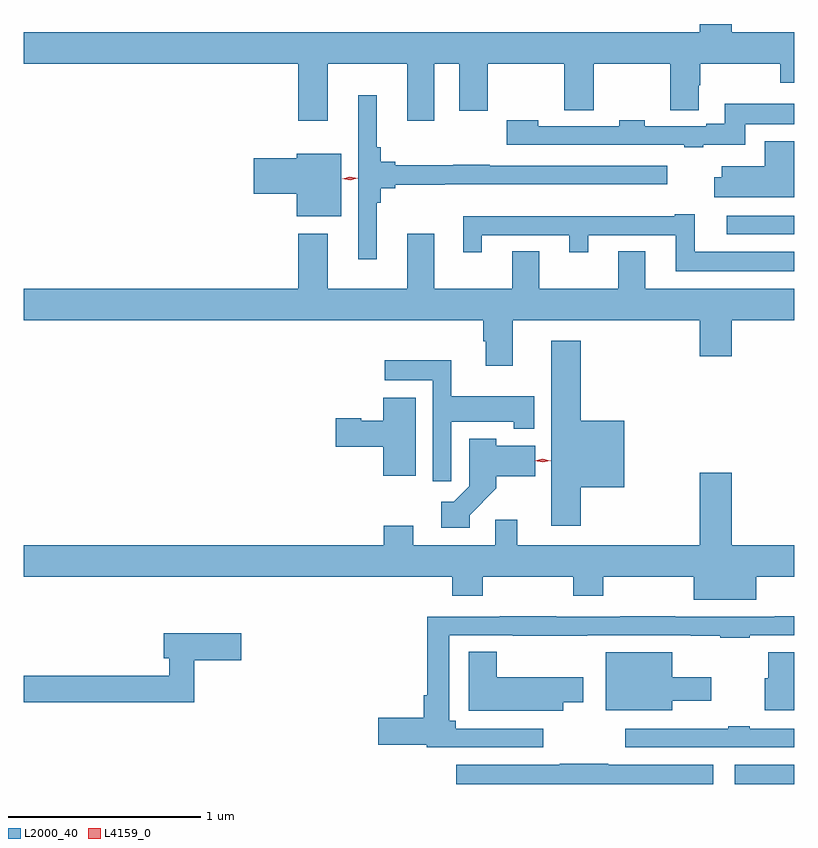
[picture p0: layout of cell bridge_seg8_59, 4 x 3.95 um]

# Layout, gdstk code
import gdstk
lib = gdstk.Library(unit=1e-6, precision=1e-09)
def R(c, l, rs):  # rectangles x0, y0, x1, y1
    for r in rs: c.add(gdstk.rectangle(r[:2], r[2:], *l))
def P(c, l, *ps):  # polygons
    for p in ps: c.add(gdstk.Polygon(p, *l))
L2000_40 = (2000, 40)
L4159_0 = (4159, 0)

bridge_seg8_59 = lib.new_cell('bridge_seg8_59')
R(bridge_seg8_59, L2000_40, [(1100.211,1110.285,1100.561,1110.381)])
P(bridge_seg8_59, L2000_40, [(1098.139,1111.172),(1098.551,1111.172),(1098.551,1110.876),(1098.691,1110.876),(1098.691,1111.172),(1098.821,1111.172),(1098.821,1110.927),(1098.969,1110.927),(1098.969,1111.172),(1099.366,1111.172),(1099.366,1110.931),(1099.52,1110.931),(1099.52,1111.172),(1099.918,1111.172),(1099.918,1110.931),(1100.065,1110.931),(1100.065,1111.06),(1100.073,1111.06),(1100.073,1111.172),(1100.488,1111.172),(1100.488,1111.073),(1100.561,1111.073),(1100.561,1111.336),(1100.236,1111.336),(1100.236,1111.378),(1100.072,1111.378),(1100.072,1111.336),(1096.561,1111.336),(1096.561,1111.172),(1097.987,1111.172),(1097.987,1110.876),(1098.139,1110.876)],
  [(1098.394,1110.449),(1098.413,1110.449),(1098.413,1110.526),(1098.49,1110.526),(1098.49,1110.544),(1098.746,1110.544),(1098.746,1110.545),(1099.903,1110.545),(1099.903,1110.642),(1098.98,1110.642),(1098.98,1110.647),(1098.79,1110.647),(1098.79,1110.645),(1098.49,1110.645),(1098.49,1110.662),(1098.413,1110.662),(1098.413,1110.739),(1098.394,1110.739),(1098.394,1111.009),(1098.297,1111.009),(1098.297,1110.156),(1098.394,1110.156)],
  [(1100.09,1110.75),(1100.308,1110.75),(1100.308,1110.857),(1100.561,1110.857),(1100.561,1110.964),(1100.201,1110.964),(1100.201,1110.859),(1100.105,1110.859),(1100.105,1110.846),(1099.785,1110.846),(1099.785,1110.879),(1099.653,1110.879),(1099.653,1110.846),(1099.233,1110.846),(1099.233,1110.879),(1099.068,1110.879),(1099.068,1110.75),(1099.99,1110.75),(1099.99,1110.738),(1100.09,1110.738)],
  [(1100.561,1110.769),(1100.408,1110.769),(1100.408,1110.64),(1100.186,1110.64),(1100.186,1110.583),(1100.147,1110.583),(1100.147,1110.479),(1100.561,1110.479)],
  [(1098.208,1110.703),(1097.978,1110.703),(1097.978,1110.68),(1097.754,1110.68),(1097.754,1110.497),(1097.978,1110.497),(1097.978,1110.38),(1098.208,1110.38)],
  [(1100.561,1110.196),(1100.044,1110.196),(1100.044,1110.391),(1099.94,1110.391),(1099.94,1110.379),(1098.842,1110.379),(1098.842,1110.192),(1098.94,1110.192),(1098.94,1110.282),(1099.394,1110.282),(1099.394,1110.192),(1099.492,1110.192),(1099.492,1110.282),(1099.946,1110.282),(1099.946,1110.095),(1100.561,1110.095)],
  [(1099.099,1109.84),(1100.072,1109.84),(1100.072,1109.652),(1100.236,1109.652),(1100.236,1109.84),(1100.561,1109.84),(1100.561,1110.004),(1099.789,1110.004),(1099.789,1110.197),(1099.649,1110.197),(1099.649,1110.004),(1099.237,1110.004),(1099.237,1110.197),(1099.097,1110.197),(1099.097,1110.004),(1098.691,1110.004),(1098.691,1110.289),(1098.551,1110.289),(1098.551,1110.004),(1098.139,1110.004),(1098.139,1110.289),(1097.987,1110.289),(1097.987,1110.004),(1096.561,1110.004),(1096.561,1109.84),(1098.947,1109.84),(1098.947,1109.73),(1098.959,1109.73),(1098.959,1109.604),(1099.099,1109.604)],
  [(1099.454,1108.973),(1099.678,1108.973),(1099.678,1109.317),(1099.454,1109.317),(1099.454,1109.734),(1099.301,1109.734),(1099.301,1108.773),(1099.454,1108.773)],
  [(1098.78,1109.312),(1099.104,1109.312),(1099.104,1109.276),(1099.212,1109.276),(1099.212,1109.446),(1098.781,1109.446),(1098.781,1109.632),(1098.435,1109.632),(1098.435,1109.528),(1098.684,1109.528),(1098.684,1109.004),(1098.78,1109.004)],
  [(1098.595,1109.437),(1098.428,1109.437),(1098.428,1109.317),(1098.312,1109.317),(1098.312,1109.33),(1098.18,1109.33),(1098.18,1109.183),(1098.428,1109.183),(1098.428,1109.031),(1098.595,1109.031)],
  [(1098.876,1108.827),(1099.015,1108.966),(1099.015,1109.03),(1099.216,1109.03),(1099.216,1109.188),(1099.015,1109.188),(1099.015,1109.224),(1098.873,1109.224),(1098.873,1108.977),(1098.793,1108.897),(1098.729,1108.897),(1098.729,1108.761),(1098.876,1108.761)],
  [(1100.365,1108.508),(1100.561,1108.508),(1100.561,1108.672),(1100.236,1108.672),(1100.236,1109.047),(1100.072,1109.047),(1100.072,1108.672),(1099.123,1108.672),(1099.123,1108.804),(1099.008,1108.804),(1099.008,1108.672),(1098.583,1108.672),(1098.583,1108.771),(1098.431,1108.771),(1098.431,1108.672),(1096.561,1108.672),(1096.561,1108.508),(1098.785,1108.508),(1098.785,1108.409),(1098.945,1108.409),(1098.945,1108.508),(1099.414,1108.508),(1099.414,1108.409),(1099.569,1108.409),(1099.569,1108.508),(1100.039,1108.508),(1100.039,1108.388),(1100.365,1108.388)],
  [(1099.258,1107.717),(1098.803,1107.717),(1098.803,1107.759),(1098.771,1107.759),(1098.771,1108.203),(1099.099,1108.203),(1099.099,1108.202),(1099.487,1108.202),(1099.487,1108.203),(1100.023,1108.203),(1100.023,1108.202),(1100.177,1108.202),(1100.177,1108.191),(1100.33,1108.191),(1100.33,1108.203),(1100.561,1108.203),(1100.561,1108.301),(1100.461,1108.301),(1100.461,1108.299),(1099.943,1108.299),(1099.943,1108.301),(1099.657,1108.301),(1099.657,1108.299),(1099.325,1108.299),(1099.325,1108.301),(1099.033,1108.301),(1099.033,1108.299),(1098.655,1108.299),(1098.655,1107.891),(1098.638,1107.891),(1098.638,1107.776),(1098.402,1107.776),(1098.402,1107.634),(1098.654,1107.634),(1098.654,1107.621),(1099.258,1107.621)],
  [(1097.447,1108.073),(1097.689,1108.073),(1097.689,1108.215),(1097.288,1108.215),(1097.288,1108.085),(1097.315,1108.085),(1097.315,1107.992),(1096.561,1107.992),(1096.561,1107.856),(1097.447,1107.856)],
  [(1099.363,1107.856),(1099.465,1107.856),(1099.465,1107.985),(1099.016,1107.985),(1099.016,1108.118),(1098.872,1108.118),(1098.872,1107.812),(1099.363,1107.812)],
  [(1099.927,1107.863),(1100.131,1107.863),(1100.131,1107.985),(1099.927,1107.985),(1099.927,1108.114),(1099.583,1108.114),(1099.583,1107.815),(1099.927,1107.815)],
  [(1100.561,1108.114),(1100.426,1108.114),(1100.426,1107.981),(1100.408,1107.981),(1100.408,1107.815),(1100.561,1107.815)],
  [(1100.561,1107.717),(1100.33,1107.717),(1100.33,1107.73),(1100.218,1107.73),(1100.218,1107.717),(1099.683,1107.717),(1099.683,1107.621),(1100.561,1107.621)],
  [(1100.14,1107.532),(1099.595,1107.532),(1099.595,1107.535),(1099.345,1107.535),(1099.345,1107.532),(1098.807,1107.532),(1098.807,1107.431),(1100.14,1107.431)],
  [(1100.561,1107.531),(1100.492,1107.531),(1100.492,1107.532),(1100.253,1107.532),(1100.253,1107.431),(1100.561,1107.431)])
P(bridge_seg8_59, L4159_0, [(1099.255,1109.101),(1099.214,1109.11),(1099.214,1109.11),(1099.214,1109.11),(1099.255,1109.12),(1099.295,1109.111),(1099.296,1109.111),(1099.295,1109.111)],
  [(1098.255,1110.566),(1098.215,1110.574),(1098.215,1110.575),(1098.215,1110.575),(1098.254,1110.585),(1098.294,1110.576),(1098.295,1110.576),(1098.294,1110.576)])

lib.write_gds('bridge_seg8_59.gds')
